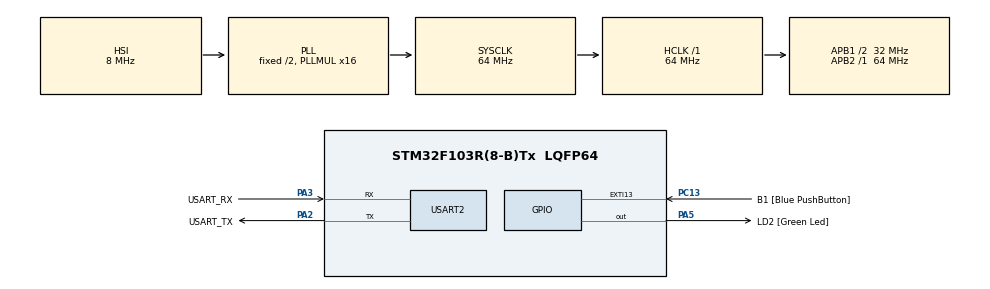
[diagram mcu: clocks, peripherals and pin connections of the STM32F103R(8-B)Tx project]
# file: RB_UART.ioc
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Dma.Request0=USART2_RX
Dma.Request1=USART2_TX
Dma.USART2_RX.0.Direction=DMA_PERIPH_TO_MEMORY
Dma.USART2_RX.0.Instance=DMA1_Channel6
Dma.USART2_RX.0.MemDataAlignment=DMA_MDATAALIGN_BYTE
Dma.USART2_RX.0.MemInc=DMA_MINC_ENABLE
Dma.USART2_RX.0.Mode=DMA_NORMAL
Dma.USART2_RX.0.PeriphDataAlignment=DMA_PDATAALIGN_BYTE
Dma.USART2_RX.0.PeriphInc=DMA_PINC_DISABLE
Dma.USART2_RX.0.Priority=DMA_PRIORITY_LOW
Dma.USART2_TX.1.Direction=DMA_MEMORY_TO_PERIPH
Dma.USART2_TX.1.Instance=DMA1_Channel7
Dma.USART2_TX.1.MemDataAlignment=DMA_MDATAALIGN_BYTE
Dma.USART2_TX.1.MemInc=DMA_MINC_ENABLE
Dma.USART2_TX.1.Mode=DMA_NORMAL
Dma.USART2_TX.1.PeriphDataAlignment=DMA_PDATAALIGN_BYTE
Dma.USART2_TX.1.PeriphInc=DMA_PINC_DISABLE
Dma.USART2_TX.1.Priority=DMA_PRIORITY_LOW
Mcu.Family=STM32F1
Mcu.Name=STM32F103R(8-B)Tx
Mcu.Package=LQFP64
NVIC.DMA1_Channel6_IRQn=true\:0\:0\:false\:false\:true\:false\:true\:true
NVIC.DMA1_Channel7_IRQn=true\:0\:0\:false\:false\:true\:false\:true\:true
NVIC.EXTI15_10_IRQn=true\:0\:0\:false\:false\:true\:true\:true\:true
NVIC.PriorityGroup=NVIC_PRIORITYGROUP_4
NVIC.USART2_IRQn=true\:0\:0\:false\:false\:true\:true\:true\:true
PA13.GPIO_Label=TMS
PA13.Mode=Serial_Wire
PA13.Signal=SYS_JTMS-SWDIO
PA14.GPIO_Label=TCK
PA14.Mode=Serial_Wire
PA14.Signal=SYS_JTCK-SWCLK
PA2.GPIO_Label=USART_TX
PA2.GPIO_Mode=GPIO_MODE_AF_PP
PA2.GPIO_PuPd=GPIO_NOPULL
PA2.GPIO_Speed=GPIO_SPEED_FREQ_LOW
PA2.Mode=Asynchronous
PA2.Signal=USART2_TX
PA3.GPIO_Label=USART_RX
PA3.GPIO_Mode=GPIO_MODE_AF_PP
PA3.GPIO_PuPd=GPIO_NOPULL
PA3.GPIO_Speed=GPIO_SPEED_FREQ_LOW
PA3.Mode=Asynchronous
PA3.Signal=USART2_RX
PA5.GPIO_Label=LD2 [Green Led]
PA5.GPIO_ModeDefaultOutputPP=GPIO_MODE_OUTPUT_PP
PA5.GPIO_PuPd=GPIO_NOPULL
PA5.GPIO_Speed=GPIO_SPEED_FREQ_LOW
PA5.Signal=GPIO_Output
PB3.GPIO_Label=SWO
PB3.Signal=SYS_JTDO-TRACESWO
PC13-TAMPER-RTC.GPIO_Label=B1 [Blue PushButton]
PC13-TAMPER-RTC.GPIO_PuPd=GPIO_NOPULL
PC13-TAMPER-RTC.Signal=GPXTI13
PC14-OSC32_IN.Mode=LSE-External-Oscillator
PC14-OSC32_IN.Signal=RCC_OSC32_IN
PC15-OSC32_OUT.Mode=LSE-External-Oscillator
PC15-OSC32_OUT.Signal=RCC_OSC32_OUT
PD0-OSC_IN.Mode=HSE-External-Clock-Source
PD0-OSC_IN.Signal=RCC_OSC_IN
PD1-OSC_OUT.Mode=HSE-External-Clock-Source
PD1-OSC_OUT.Signal=RCC_OSC_OUT
ProjectManager.HeapSize=0x200
ProjectManager.StackSize=0x400
ProjectManager.TargetToolchain=STM32CubeIDE
RCC.AHBFreq_Value=64000000
RCC.APB1CLKDivider=RCC_HCLK_DIV2
RCC.APB1Freq_Value=32000000
RCC.APB1TimFreq_Value=64000000
RCC.APB2Freq_Value=64000000
RCC.APB2TimFreq_Value=64000000
RCC.HCLKFreq_Value=64000000
RCC.PLLMUL=RCC_PLL_MUL16
RCC.RTCClockSelection=RCC_RTCCLKSOURCE_LSE
RCC.SYSCLKFreq_VALUE=64000000
RCC.SYSCLKSource=RCC_SYSCLKSOURCE_PLLCLK
RCC.USBFreq_Value=64000000
USART2.VirtualMode=VM_ASYNC
board=NUCLEO-F103RB

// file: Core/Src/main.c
/* USER CODE BEGIN Header */
/**
  ******************************************************************************
  * @file           : main.c
  * @brief          : Main program body
  ******************************************************************************
  * @attention
  *
  * Copyright (c) 2025 STMicroelectronics.
  * All rights reserved.
  *
  * This software is licensed under terms that can be found in the LICENSE file
  * in the root directory of this software component.
  * If no LICENSE file comes with this software, it is provided AS-IS.
  *
  ******************************************************************************
  */
/* USER CODE END Header */
#include "main.h"

UART_HandleTypeDef huart2;
DMA_HandleTypeDef hdma_usart2_rx;
DMA_HandleTypeDef hdma_usart2_tx;

void SystemClock_Config(void);
static void MX_GPIO_Init(void);
static void MX_DMA_Init(void);
static void MX_USART2_UART_Init(void);
/* USER CODE BEGIN PFP */
#define MAX_BUFF 2
uint8_t RX_BUFF[MAX_BUFF];
uint32_t RxHlfCnt = 0;
uint32_t RXFllCnt = 0;

uint32_t TxHlfCnt = 0;
uint32_t TXFllCnt = 0;
void HAL_UART_RxCpltCallback(UART_HandleTypeDef *huart)
{
	RXFllCnt ++;
	HAL_UART_Receive_DMA(&huart2, RX_BUFF, MAX_BUFF);
	//HAL_UART_Transmit_DMA(&huart2, RX_BUFF, MAX_BUFF);
}
void HAL_UART_RxHalfCpltCallback(UART_HandleTypeDef *huart)
{
	RxHlfCnt ++;
	HAL_UART_Receive_DMA(&huart2, RX_BUFF, MAX_BUFF);
	HAL_UART_Transmit_DMA(&huart2, RX_BUFF, MAX_BUFF);
}
void HAL_UART_TxCpltCallback(UART_HandleTypeDef *huart)
{

}
void HAL_UART_TxHalfCpltCallback(UART_HandleTypeDef *huart)
{

}
/* USER CODE END PFP */

int main(void)
{

  /* MCU Configuration--------------------------------------------------------*/

  /* Reset of all peripherals, Initializes the Flash interface and the Systick. */
  HAL_Init();

  /* Configure the system clock */
  SystemClock_Config();

  /* Initialize all configured peripherals */
  MX_GPIO_Init();
  MX_DMA_Init();
  MX_USART2_UART_Init();
  /* USER CODE BEGIN 2 */
  HAL_UART_Receive_DMA(&huart2, RX_BUFF, MAX_BUFF);
  /* USER CODE END 2 */

  /* Infinite loop */
  /* USER CODE BEGIN WHILE */
  while (1)
  {
	HAL_GPIO_TogglePin(LD2_GPIO_Port, LD2_Pin);
	HAL_Delay(500);
    /* USER CODE END WHILE */

  }
}

void SystemClock_Config(void)
{
  RCC_OscInitTypeDef RCC_OscInitStruct = {0};
  RCC_ClkInitTypeDef RCC_ClkInitStruct = {0};

  /** Initializes the RCC Oscillators according to the specified parameters
  * in the RCC_OscInitTypeDef structure.
  */
  RCC_OscInitStruct.OscillatorType = RCC_OSCILLATORTYPE_HSI;
  RCC_OscInitStruct.HSIState = RCC_HSI_ON;
  RCC_OscInitStruct.HSICalibrationValue = RCC_HSICALIBRATION_DEFAULT;
  RCC_OscInitStruct.PLL.PLLState = RCC_PLL_ON;
  RCC_OscInitStruct.PLL.PLLSource = RCC_PLLSOURCE_HSI_DIV2;
  RCC_OscInitStruct.PLL.PLLMUL = RCC_PLL_MUL16;
  if (HAL_RCC_OscConfig(&RCC_OscInitStruct) != HAL_OK)
  {
    Error_Handler();
  }

  /** Initializes the CPU, AHB and APB buses clocks
  */
  RCC_ClkInitStruct.ClockType = RCC_CLOCKTYPE_HCLK|RCC_CLOCKTYPE_SYSCLK
                              |RCC_CLOCKTYPE_PCLK1|RCC_CLOCKTYPE_PCLK2;
  RCC_ClkInitStruct.SYSCLKSource = RCC_SYSCLKSOURCE_PLLCLK;
  RCC_ClkInitStruct.AHBCLKDivider = RCC_SYSCLK_DIV1;
  RCC_ClkInitStruct.APB1CLKDivider = RCC_HCLK_DIV2;
  RCC_ClkInitStruct.APB2CLKDivider = RCC_HCLK_DIV1;

  if (HAL_RCC_ClockConfig(&RCC_ClkInitStruct, FLASH_LATENCY_2) != HAL_OK)
  {
    Error_Handler();
  }
}

static void MX_USART2_UART_Init(void)
{

  huart2.Instance = USART2;
  huart2.Init.BaudRate = 115200;
  huart2.Init.WordLength = UART_WORDLENGTH_8B;
  huart2.Init.StopBits = UART_STOPBITS_1;
  huart2.Init.Parity = UART_PARITY_NONE;
  huart2.Init.Mode = UART_MODE_TX_RX;
  huart2.Init.HwFlowCtl = UART_HWCONTROL_NONE;
  huart2.Init.OverSampling = UART_OVERSAMPLING_16;
  if (HAL_UART_Init(&huart2) != HAL_OK)
  {
    Error_Handler();
  }

}

static void MX_DMA_Init(void)
{

  /* DMA controller clock enable */
  __HAL_RCC_DMA1_CLK_ENABLE();

  /* DMA interrupt init */
  /* DMA1_Channel6_IRQn interrupt configuration */
  HAL_NVIC_SetPriority(DMA1_Channel6_IRQn, 0, 0);
  HAL_NVIC_EnableIRQ(DMA1_Channel6_IRQn);
  /* DMA1_Channel7_IRQn interrupt configuration */
  HAL_NVIC_SetPriority(DMA1_Channel7_IRQn, 0, 0);
  HAL_NVIC_EnableIRQ(DMA1_Channel7_IRQn);

}

static void MX_GPIO_Init(void)
{
  GPIO_InitTypeDef GPIO_InitStruct = {0};

  /* GPIO Ports Clock Enable */
  __HAL_RCC_GPIOC_CLK_ENABLE();
  __HAL_RCC_GPIOD_CLK_ENABLE();
  __HAL_RCC_GPIOA_CLK_ENABLE();
  __HAL_RCC_GPIOB_CLK_ENABLE();

  /*Configure GPIO pin Output Level */
  HAL_GPIO_WritePin(LD2_GPIO_Port, LD2_Pin, GPIO_PIN_RESET);

  /*Configure GPIO pin : B1_Pin */
  GPIO_InitStruct.Pin = B1_Pin;
  GPIO_InitStruct.Mode = GPIO_MODE_IT_RISING;
  GPIO_InitStruct.Pull = GPIO_NOPULL;
  HAL_GPIO_Init(B1_GPIO_Port, &GPIO_InitStruct);

  /*Configure GPIO pin : LD2_Pin */
  GPIO_InitStruct.Pin = LD2_Pin;
  GPIO_InitStruct.Mode = GPIO_MODE_OUTPUT_PP;
  GPIO_InitStruct.Pull = GPIO_NOPULL;
  GPIO_InitStruct.Speed = GPIO_SPEED_FREQ_LOW;
  HAL_GPIO_Init(LD2_GPIO_Port, &GPIO_InitStruct);

  /* EXTI interrupt init*/
  HAL_NVIC_SetPriority(EXTI15_10_IRQn, 0, 0);
  HAL_NVIC_EnableIRQ(EXTI15_10_IRQn);

}

void Error_Handler(void)
{
  __disable_irq();
  while (1)
  {
  }
}
